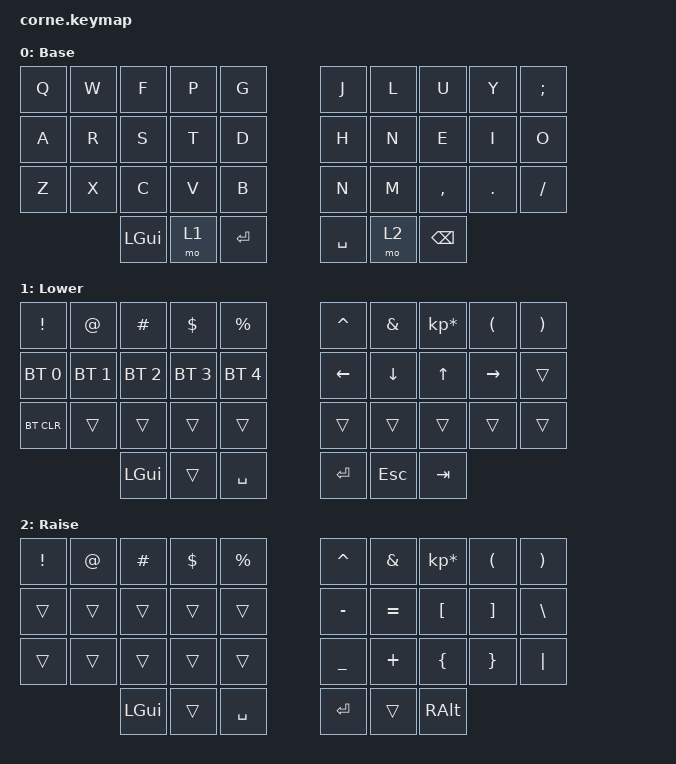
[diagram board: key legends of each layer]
/*
 * Copyright (c) 2020 The ZMK Contributors
 *
 * SPDX-License-Identifier: MIT
 */

#include <behaviors.dtsi>
#include <dt-bindings/zmk/keys.h>
#include <dt-bindings/zmk/bt.h>


#define AS(keycode) &as LS(keycode) keycode

/ {
    chosen {
        zmk,physical-layout = &foostan_corne_5col_layout;
    };

    behaviors {
        as: auto_shift {
            compatible = "zmk,behavior-hold-tap";
            #binding-cells = <2>;
            tapping_term_ms = <200>;
            quick_tap_ms = <0>;
            flavor = "tap-preferred";
            bindings = <&kp>, <&kp>;
        };
    };
        keymap {
                compatible = "zmk,keymap";

                default_layer {
// -----------------------------------------------------------------------------------------
// |  Q  |  W  |  E  |  R  |  T  |     |  Y  |  U   |  I   |  O   | P |
// |  A  |  S  |  D  |  F  |  G  |     |  H  |  J   |  K   |  L   | ' | 
// |  Z  |  X  |  C  |  V  |  B  |     |  N  |  M   | CTRL | META | . |
//             | GUI | LWR | SPC |     | ENT | RSE  | BSPC |
                        display-name = "Base";
                        bindings = <
   &kp Q &kp W &kp F &kp P &kp G     &kp J   &kp L  &kp U     &kp Y     &kp SEMI
   &kp A &kp R &kp S &kp T &kp D     &kp H   &kp N  &kp E     &kp I     &kp O
   &kp Z &kp X &kp C &kp V &kp B     &kp N   &kp M  &kp COMMA &kp DOT   &kp FSLH
        &kp LGUI &mo 1   &kp RET     &kp SPACE &mo 2  &kp BSPC
                        >;
                };

                lower_layer {
// -----------------------------------------------------------------------------------------
// | !     |  @  |  #  |  $  |  %  |     |  ^  |  &  |  *  |  (  |  )  |
// | BT1   | BT2 | BT3 | BT4 | BT5 |     | LFT | DWN |  UP | RGT |     |
// | BTCLR |     |     |     |     |     |     |     |     |     |     |
//               | GUI |     | SPC |     | ENT | ESC | TAB |
                        display-name = "Lower";
                        bindings = <
   &kp EXCL     &kp AT       &kp HASH     &kp DLLR     &kp PRCNT        &kp CARET &kp AMPS  &kp KP_MULTIPLY &kp LPAR  &kp RPAR
   &bt BT_SEL 0 &bt BT_SEL 1 &bt BT_SEL 2 &bt BT_SEL 3 &bt BT_SEL 4     &kp LEFT  &kp DOWN  &kp UP          &kp RIGHT &trans 
   &bt BT_CLR   &trans       &trans       &trans       &trans           &trans    &trans    &trans          &trans    &trans 
                             &kp LGUI     &trans       &kp SPACE        &kp RET   &kp ESC   &kp TAB
                        >;
                };

                raise_layer {
// -----------------------------------------------------------------------------------------
// | 1! |  2@ |  3# |  4$ |  5% |     |  6^ |  7& |  8* |  9(  |  0)  |
// | -_ |  =+ |  {  |  [  |  (  |     |  )  |  ]  |  }  |  /?  |  \|  |
// | `~ |     |     |  ,< |  :  |     |  ;  |  .> | CTRL| META |      |
//            | GUI | ESC | SPC |     | ENT |     | TAB |
                        display-name = "Raise";
                        bindings = <
   &kp EXCL &kp AT &kp HASH &kp DLLR &kp PRCNT   &kp CARET &kp AMPS  &kp KP_MULTIPLY &kp LPAR &kp RPAR  
   &trans   &trans &trans   &trans   &trans      &kp MINUS &kp EQUAL &kp LBKT        &kp RBKT &kp BSLH
   &trans   &trans &trans   &trans   &trans      &kp UNDER &kp PLUS  &kp LBRC        &kp RBRC &kp PIPE
                    	     &kp LGUI &trans   &kp SPACE   &kp RET   &trans    &kp RALT
                        >;
                };

                extra_1 {
                        status = "reserved";
                };

                extra_2 {
                        status = "reserved";
                };

                extra_3 {
                        status = "reserved";
                };
        };
};
